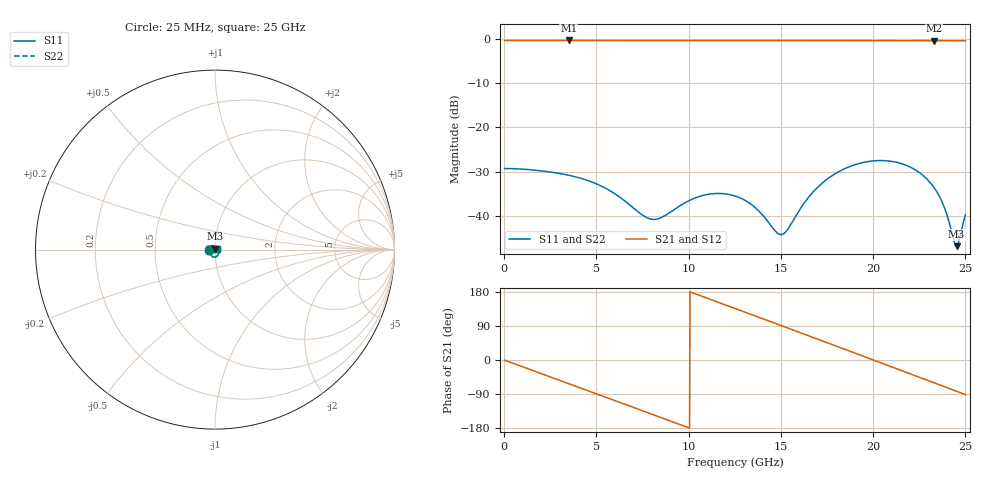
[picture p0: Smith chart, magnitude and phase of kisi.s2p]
! thru_R_s4_L4: 2×thru, L4, 8 mm
! stackup: 4-layer 1.6 mm FR-4
! ports: 1, 2
! kisi-fdtd, conformal, dfine 0.07 mm, 145860 cells
# Hz S RI R 50
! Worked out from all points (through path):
!   1000 points, 25 MHz to 25 GHz, reference 50 ohm
!   highest |S21| = -0.29 dB at 3.5 GHz (marker M1); lowest = -0.4 dB at 23.3 GHz (marker M2)
!   group delay of S21, straight-line fit = 50.1 ps
!   lowest |S11| = -46.9 dB at 24.52 GHz (marker M3), VSWR 1.01, Z = 50 + j0.452 ohm
!   |S11| at or under -10 dB: start of sweep to end of sweep
!   |S22| runs from -46.9 to -27.5 dB; largest |S21 - S12| = 0
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2.5e7  -0.0343 0.000168  0.9659 -0.00751  0.9659 -0.00751  -0.0343 0.000168
1.675e9  -0.0311 0.0105  0.838 -0.4811  0.838 -0.4811  -0.0311 0.0105
3.5e9  -0.0217 0.0189  0.447 -0.8571  0.447 -0.8571  -0.0217 0.0189
4.2e9  -0.0164 0.0207  0.2506 -0.9335  0.2506 -0.9335  -0.0164 0.0207
6.175e9  0.000897 0.0167  -0.335 -0.9061  -0.335 -0.9061  0.000897 0.0167
7.65e9  0.00874 0.00423  -0.7025 -0.6623  -0.7025 -0.6623  0.00874 0.00423
8.35e9  0.0088 -0.00283  -0.8293 -0.494  -0.8293 -0.494  0.0088 -0.00283
9.4e9  0.00428 -0.0117  -0.944 -0.2001  -0.944 -0.2001  0.00428 -0.0117
1.0425e10  -0.00359 -0.0157  -0.9587 0.108  -0.9587 0.108  -0.00359 -0.0157
1.145e10  -0.0113 -0.0138  -0.8754 0.4053  -0.8754 0.4053  -0.0113 -0.0138
1.2525e10  -0.0152 -0.00682  -0.6916 0.6723  -0.6916 0.6723  -0.0152 -0.00682
1.38e10  -0.011 0.00269  -0.3739 0.8889  -0.3739 0.8889  -0.011 0.00269
1.5e10  0.000461 0.0061  -0.0189 0.9638  -0.0189 0.9638  0.000461 0.0061
1.6675e10  0.0171 -0.00523  0.4704 0.8406  0.4704 0.8406  0.0171 -0.00523
1.885e10  0.0131 -0.0345  0.8965 0.3485  0.8965 0.3485  0.0131 -0.0345
1.985e10  5.24e-05 -0.0414  0.9598 0.0508  0.9598 0.0508  5.24e-05 -0.0414
2.085e10  -0.0145 -0.0391  0.9269 -0.2521  0.9269 -0.2521  -0.0145 -0.0391
2.225e10  -0.0256 -0.0215  0.7266 -0.6273  0.7266 -0.6273  -0.0256 -0.0215
2.33e10  -0.0202 -0.00525  0.4792 -0.8316  0.4792 -0.8316  -0.0202 -0.00525
2.3825e10  -0.0129 0.000825  0.3332 -0.9002  0.3332 -0.9002  -0.0129 0.000825
2.4525e10  -3.14e-05 0.00452  0.1241 -0.9519  0.1241 -0.9519  -3.14e-05 0.00452
2.5e10  0.00966 0.00347  -0.0223 -0.9598  -0.0223 -0.9598  0.00966 0.00347
